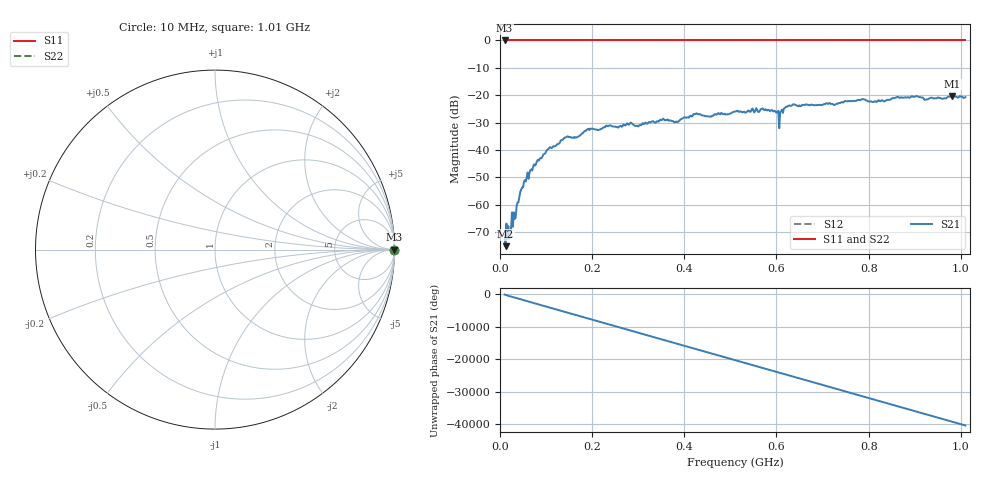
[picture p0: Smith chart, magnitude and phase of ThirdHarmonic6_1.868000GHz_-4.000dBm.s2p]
! 8/16/2025 10:34:46 PM
! C:\ANRITSUVNA\TEMP\TEMP.S2P
! CHANNEL.1
! TR.MEASUREMENT
! RAW.DATA
! RF.CORRECTION.OFF
! AVERAGING.OFF
! IF.BANDWIDTH: 5KHZ
! SWEEPTYPE:  FREQ.SWEEP(Linear)
! Reference Plane Port Info
! PORT:  PORT1  PORT2
! DISTANCE:  0  m  0  m
! TIME:  0  s  0  s
! PHASE.OFFSET:  0  deg.  0  deg.
! LOSS:  0  dB  0  dB
! REF.LOSS:  0  dB  0  dB
! REF.FREQ:  0  Hz  0  Hz
! Power Info
! POWER:  -20  dBm  -20  dBm
! EFF.POWER:  -20  dBm  -20  dBm
! SOURCE.ATTEN:  0  dB  0  dB
! TEST.ATTEN:  0  dB  0  dB
# GHZ S RI R 50.0
! FREQ.GHZ  S11RE  S11IM  S21RE  S21IM  S12RE  S12IM  S22RE  S22IM
!; PortSelection: Port_12
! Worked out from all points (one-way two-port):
!   501 points, 10 MHz to 1.01 GHz, reference 50 ohm
!   highest |S21| = -20.24 dB at 982 MHz (marker M1); lowest = -75.1 dB at 12 MHz (marker M2)
!   lowest |S11| = 0.0 dB at 10 MHz (marker M3)
!   |S11| at or under -10 dB: nowhere
!   |S22| runs from 0.0 to 0.0 dB; largest |S21 - S12| = 1.1
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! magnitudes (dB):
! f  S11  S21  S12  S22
! 10 MHz  0.0  -70.7  0.0  0.0
! 12 MHz  0.0  -75.1  0.0  0.0
! 20 MHz  0.0  -72.4  0.0  0.0
! 48 MHz  0.0  -53.7  0.0  0.0
! 56 MHz  0.0  -51.5  0.0  0.0
! 78 MHz  0.0  -45.1  0.0  0.0
! 104 MHz  0.0  -39.7  0.0  0.0
! 142 MHz  0.0  -35.4  0.0  0.0
! 178 MHz  0.0  -33.9  0.0  0.0
! 234 MHz  0.0  -31.3  0.0  0.0
! 344 MHz  0.0  -29.6  0.0  0.0
! 382 MHz  0.0  -29.6  0.0  0.0
! 424 MHz  0.0  -26.9  0.0  0.0
! 454 MHz  0.0  -27.7  0.0  0.0
! 510 MHz  0.0  -26.0  0.0  0.0
! 572 MHz  0.0  -25.3  0.0  0.0
! 604 MHz  0.0  -25.7  0.0  0.0
! 624 MHz  0.0  -24.0  0.0  0.0
! 678 MHz  0.0  -23.5  0.0  0.0
! 844 MHz  0.0  -21.7  0.0  0.0
! 982 MHz  0.0  -20.2  0.0  0.0
! 1.01 GHz  0.0  -20.7  0.0  0.0
